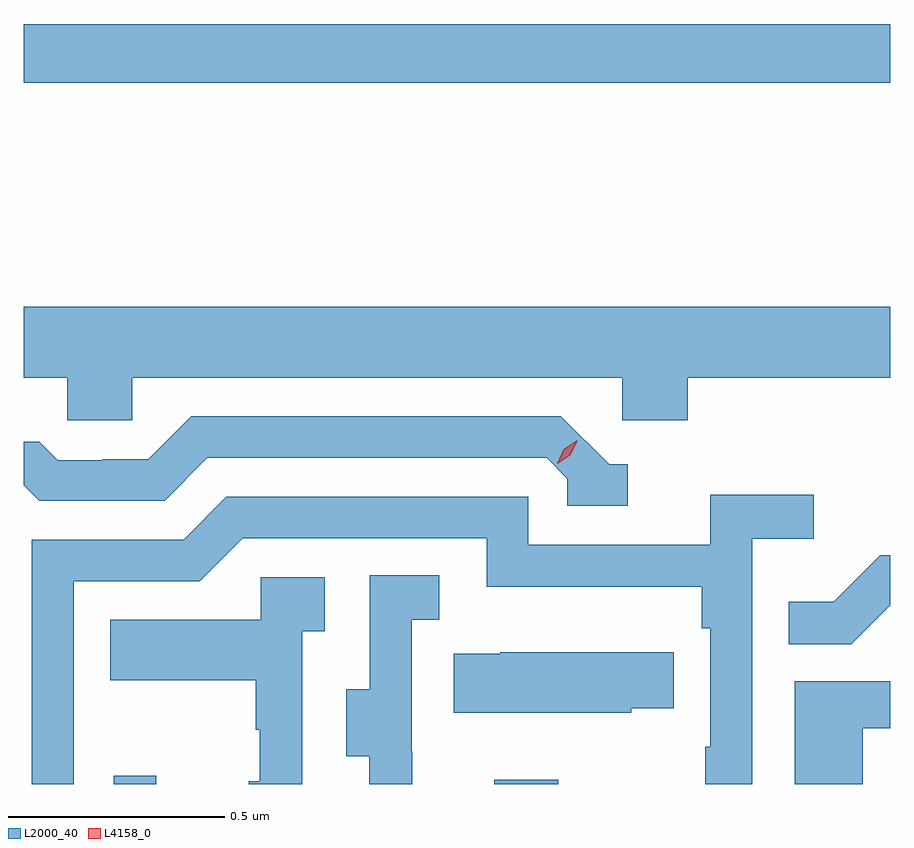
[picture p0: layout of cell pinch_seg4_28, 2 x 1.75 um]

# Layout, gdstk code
import gdstk
lib = gdstk.Library(unit=1e-6, precision=1e-09)
def R(c, l, rs):  # rectangles x0, y0, x1, y1
    for r in rs: c.add(gdstk.rectangle(r[:2], r[2:], *l))
def P(c, l, *ps):  # polygons
    for p in ps: c.add(gdstk.Polygon(p, *l))
L2000_40 = (2000, 40)
L4158_0 = (4158, 0)

pinch_seg4_28 = lib.new_cell('pinch_seg4_28')
R(pinch_seg4_28, L2000_40, [(1101.501,819.858,1101.599,819.877), (1102.379,819.858,1102.527,819.868), (1101.293,821.476,1103.293,821.612)])
P(pinch_seg4_28, L2000_40, [(1101.543,820.796),(1102.674,820.796),(1102.674,820.698),(1102.826,820.698),(1102.826,820.796),(1103.293,820.796),(1103.293,820.96),(1101.293,820.96),(1101.293,820.796),(1101.393,820.796),(1101.393,820.698),(1101.543,820.698)],
  [(1102.687,820.596),(1102.644,820.596),(1102.533,820.707),(1101.68,820.707),(1101.581,820.608),(1101.474,820.608),(1101.474,820.605),(1101.371,820.605),(1101.329,820.648),(1101.293,820.648),(1101.293,820.548),(1101.329,820.512),(1101.618,820.512),(1101.717,820.611),(1102.5,820.611),(1102.548,820.563),(1102.548,820.5),(1102.687,820.5)],
  [(1101.408,820.326),(1101.699,820.326),(1101.798,820.425),(1102.362,820.425),(1102.362,820.313),(1102.858,820.313),(1102.858,820.217),(1102.878,820.217),(1102.878,819.944),(1102.866,819.944),(1102.866,819.858),(1102.974,819.858),(1102.974,820.424),(1103.116,820.424),(1103.116,820.526),(1102.877,820.526),(1102.877,820.41),(1102.458,820.41),(1102.458,820.521),(1101.761,820.521),(1101.662,820.422),(1101.312,820.422),(1101.312,819.858),(1101.408,819.858)],
  [(1103.293,820.27),(1103.293,820.386),(1103.27,820.386),(1103.163,820.279),(1103.059,820.279),(1103.059,820.18),(1103.203,820.18)],
  [(1102.19,819.933),(1102.188,819.933),(1102.188,820.237),(1102.252,820.237),(1102.252,820.34),(1102.092,820.34),(1102.092,820.077),(1102.037,820.077),(1102.037,819.922),(1102.091,819.922),(1102.091,819.858),(1102.19,819.858)],
  [(1101.936,820.211),(1101.988,820.211),(1101.988,820.335),(1101.84,820.335),(1101.84,820.237),(1101.493,820.237),(1101.493,820.097),(1101.828,820.097),(1101.828,819.983),(1101.838,819.983),(1101.838,819.864),(1101.812,819.864),(1101.812,819.858),(1101.936,819.858)],
  [(1102.695,820.033),(1102.793,820.033),(1102.793,820.162),(1102.393,820.162),(1102.393,820.159),(1102.285,820.159),(1102.285,820.022),(1102.695,820.022)],
  [(1103.23,819.987),(1103.293,819.987),(1103.293,820.095),(1103.072,820.095),(1103.072,819.858),(1103.23,819.858)])
P(pinch_seg4_28, L4158_0, [(1102.524,820.597),(1102.524,820.597),(1102.539,820.63),(1102.569,820.65),(1102.57,820.65),(1102.57,820.65),(1102.554,820.617),(1102.524,820.597)])

lib.write_gds('pinch_seg4_28.gds')
